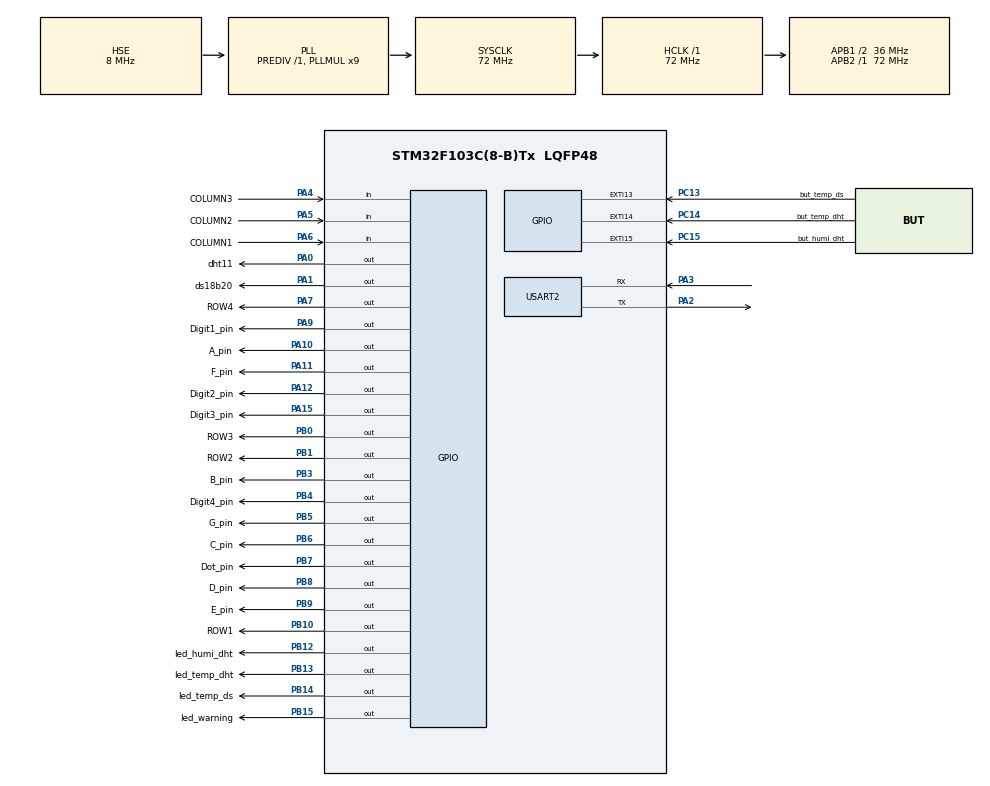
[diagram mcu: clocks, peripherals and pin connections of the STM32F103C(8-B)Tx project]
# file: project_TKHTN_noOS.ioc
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Mcu.Family=STM32F1
Mcu.Name=STM32F103C(8-B)Tx
Mcu.Package=LQFP48
NVIC.EXTI15_10_IRQn=true\:0\:0\:false\:false\:true\:true\:true\:true
NVIC.PriorityGroup=NVIC_PRIORITYGROUP_4
NVIC.TIM3_IRQn=true\:1\:0\:true\:false\:true\:true\:true\:true
NVIC.TIM4_IRQn=true\:0\:0\:false\:false\:true\:true\:true\:true
NVIC.USART2_IRQn=true\:0\:0\:false\:false\:true\:true\:true\:true
PA0-WKUP.GPIO_Label=dht11
PA0-WKUP.PinState=GPIO_PIN_SET
PA0-WKUP.Signal=GPIO_Output
PA1.GPIO_Label=ds18b20
PA1.PinState=GPIO_PIN_SET
PA1.Signal=GPIO_Output
PA10.GPIO_Label=A_pin
PA10.Signal=GPIO_Output
PA11.GPIO_Label=F_pin
PA11.Signal=GPIO_Output
PA12.GPIO_Label=Digit2_pin
PA12.Signal=GPIO_Output
PA13.Mode=Serial_Wire
PA13.Signal=SYS_JTMS-SWDIO
PA14.Mode=Serial_Wire
PA14.Signal=SYS_JTCK-SWCLK
PA15.GPIO_Label=Digit3_pin
PA15.Signal=GPIO_Output
PA2.Mode=Asynchronous
PA2.Signal=USART2_TX
PA3.Mode=Asynchronous
PA3.Signal=USART2_RX
PA4.GPIO_Label=COLUMN3
PA4.GPIO_PuPd=GPIO_PULLUP
PA4.Signal=GPIO_Input
PA5.GPIO_Label=COLUMN2
PA5.GPIO_PuPd=GPIO_PULLUP
PA5.Signal=GPIO_Input
PA6.GPIO_Label=COLUMN1
PA6.GPIO_PuPd=GPIO_PULLUP
PA6.Signal=GPIO_Input
PA7.GPIO_Label=ROW4
PA7.Signal=GPIO_Output
PA9.GPIO_Label=Digit1_pin
PA9.Signal=GPIO_Output
PB0.GPIO_Label=ROW3
PB0.Signal=GPIO_Output
PB1.GPIO_Label=ROW2
PB1.Signal=GPIO_Output
PB10.GPIO_Label=ROW1
PB10.Signal=GPIO_Output
PB12.GPIO_Label=led_humi_dht
PB12.Signal=GPIO_Output
PB13.GPIO_Label=led_temp_dht
PB13.Signal=GPIO_Output
PB14.GPIO_Label=led_temp_ds
PB14.Signal=GPIO_Output
PB15.GPIO_Label=led_warning
PB15.Signal=GPIO_Output
PB3.GPIO_Label=B_pin
PB3.Signal=GPIO_Output
PB4.GPIO_Label=Digit4_pin
PB4.Signal=GPIO_Output
PB5.GPIO_Label=G_pin
PB5.Signal=GPIO_Output
PB6.GPIO_Label=C_pin
PB6.Signal=GPIO_Output
PB7.GPIO_Label=Dot_pin
PB7.Signal=GPIO_Output
PB8.GPIO_Label=D_pin
PB8.Signal=GPIO_Output
PB9.GPIO_Label=E_pin
PB9.Signal=GPIO_Output
PC13-TAMPER-RTC.GPIO_Label=but_temp_ds
PC13-TAMPER-RTC.GPIO_PuPd=GPIO_PULLUP
PC13-TAMPER-RTC.Signal=GPXTI13
PC14-OSC32_IN.GPIO_Label=but_temp_dht
PC14-OSC32_IN.GPIO_PuPd=GPIO_PULLUP
PC14-OSC32_IN.Signal=GPXTI14
PC15-OSC32_OUT.GPIO_Label=but_humi_dht
PC15-OSC32_OUT.GPIO_PuPd=GPIO_PULLUP
PC15-OSC32_OUT.Signal=GPXTI15
PD0-OSC_IN.Mode=HSE-External-Oscillator
PD0-OSC_IN.Signal=RCC_OSC_IN
PD1-OSC_OUT.Mode=HSE-External-Oscillator
PD1-OSC_OUT.Signal=RCC_OSC_OUT
ProjectManager.HeapSize=0x200
ProjectManager.StackSize=0x400
ProjectManager.TargetToolchain=STM32CubeIDE
RCC.AHBFreq_Value=72000000
RCC.APB1CLKDivider=RCC_HCLK_DIV2
RCC.APB1Freq_Value=36000000
RCC.APB1TimFreq_Value=72000000
RCC.APB2Freq_Value=72000000
RCC.APB2TimFreq_Value=72000000
RCC.HCLKFreq_Value=72000000
RCC.PLLMUL=RCC_PLL_MUL9
RCC.PLLSourceVirtual=RCC_PLLSOURCE_HSE
RCC.SYSCLKFreq_VALUE=72000000
RCC.SYSCLKSource=RCC_SYSCLKSOURCE_PLLCLK
RCC.USBFreq_Value=72000000
TIM2.Prescaler=71
TIM3.AutoReloadPreload=TIM_AUTORELOAD_PRELOAD_DISABLE
TIM3.Period=9999
TIM3.Prescaler=7199
TIM4.Period=49999
TIM4.Prescaler=7199
USART2.VirtualMode=VM_ASYNC
VP_TIM2_VS_ClockSourceINT.Mode=Internal
VP_TIM3_VS_ClockSourceINT.Mode=Internal
VP_TIM4_VS_ClockSourceINT.Mode=Internal
board=custom

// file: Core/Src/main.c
/* USER CODE BEGIN Header */
/**
  ******************************************************************************
  * @file           : main.c
  * @brief          : Main program body
  ******************************************************************************
  * @attention
  *
  * Copyright (c) 2023 STMicroelectronics.
  * All rights reserved.
  *
  * This software is licensed under terms that can be found in the LICENSE file
  * in the root directory of this software component.
  * If no LICENSE file comes with this software, it is provided AS-IS.
  *
  ******************************************************************************
  */
/* USER CODE END Header */
#include "main.h"

/* USER CODE BEGIN Includes */
#include "led7seg.h"
#include "ds18b20.h"
#include "DHT.h"
#include "keypad.h"
#include <string.h>
#include <stdio.h>
#include <stdbool.h>
#include <stdlib.h>
/* USER CODE END Includes */

/* USER CODE BEGIN PTD */
typedef enum {ds_temp, dht_temp, dht_humi} status_t;
/* USER CODE END PTD */

TIM_HandleTypeDef htim2;
TIM_HandleTypeDef htim3;
TIM_HandleTypeDef htim4;

UART_HandleTypeDef huart2;

/* USER CODE BEGIN PV */
DS18B20_Name DS1;
DHT_DataTypedef DHT11_Data;
float temp_ds, temp_dht, humi_dht;
status_t getting = ds_temp;
int period = 10; //set up period
float warning_temp = 40; //set up warning_temp
float warning_humi = 70; //set up warning_humi
bool getting_period = 0;
bool getting_warning = 0;
bool getting_warning_humi = 0;
char set_up[4];// = {'\0', '\0', '\0'};
int index_key = 0;
char key;
int count_period = 0;
char uart_receive[3];
/* USER CODE END PV */

void SystemClock_Config(void);
static void MX_GPIO_Init(void);
static void MX_TIM2_Init(void);
static void MX_TIM3_Init(void);
static void MX_TIM4_Init(void);
static void MX_USART2_UART_Init(void);
/* USER CODE BEGIN PFP */
#ifdef __GNUC__
  /* With GCC, small printf (option LD Linker->Libraries->Small printf
     set to 'Yes') calls __io_putchar() */
int __io_putchar(int ch)
#else
int fputc(int ch, FILE *f)
#endif /* __GNUC__ */
{
  /* Place your implementation of fputc here */
  /* e.g. write a character to the UART3 and Loop until the end of transmission */
  HAL_UART_Transmit(&huart2, (uint8_t *)&ch, 1, HAL_MAX_DELAY);

  return ch;
}
/* USER CODE END PFP */

/* USER CODE BEGIN 0 */
void set_up_led(status_t getting)
{
	if(getting == ds_temp)
	{
		HAL_GPIO_WritePin(led_temp_ds_GPIO_Port, led_temp_ds_Pin, SET);
		HAL_GPIO_WritePin(led_temp_dht_GPIO_Port, led_temp_dht_Pin, RESET);
		HAL_GPIO_WritePin(led_humi_dht_GPIO_Port, led_humi_dht_Pin, RESET);
	}
	else if(getting == dht_temp)
	{
		HAL_GPIO_WritePin(led_temp_ds_GPIO_Port, led_temp_ds_Pin, RESET);
		HAL_GPIO_WritePin(led_temp_dht_GPIO_Port, led_temp_dht_Pin, SET);
		HAL_GPIO_WritePin(led_humi_dht_GPIO_Port, led_humi_dht_Pin, RESET);
	}
	else if(getting == dht_humi)
	{
		HAL_GPIO_WritePin(led_temp_ds_GPIO_Port, led_temp_ds_Pin, RESET);
		HAL_GPIO_WritePin(led_temp_dht_GPIO_Port, led_temp_dht_Pin, RESET);
		HAL_GPIO_WritePin(led_humi_dht_GPIO_Port, led_humi_dht_Pin, SET);
	}
	if((temp_ds > warning_temp) || (temp_dht > warning_temp) || (humi_dht > warning_humi))
	{
		HAL_GPIO_WritePin(led_warning_GPIO_Port, led_warning_Pin, SET);
	}
	else
	{
		HAL_GPIO_WritePin(led_warning_GPIO_Port, led_warning_Pin, RESET);
	}
}

void read_sensor_task(void)
{
//	printf("Tick:%ld\n", uwTick);
	printf("In read_sensor_task!\n");
	temp_ds = DS18B20_ReadTemp(&DS1);
	printf("Read DS12B20!\n");
	DHT_GetData(&DHT11_Data);
	temp_dht = DHT11_Data.Temperature;
	humi_dht = DHT11_Data.Humidity;
	set_up_led(getting);
	printf("Read DHT11!\n");
	printf("Value temp_ds: %.2f!\n", temp_ds);
	printf("Value temp_dht: %.2f!\n", temp_dht);
	printf("Value humi_dht: %.2f!\n", humi_dht);
//	printf("Value temp_ds:%d!\n", (int) temp_ds);  //hien thi so nguyen
//	printf("Value temp_dht:%d!\n", (int) temp_dht);
//	printf("Value humi_dht:%d!\n", (int) humi_dht);
}

void key_pad_task(void)
{
	key = getKey();
	if(key)
	{
	  printf("Key: %c\n", key);
	  if(key == '*')
	  {
		  printf("Change period....\n");
		  getting_period = 1;
		  TIM4->CNT &= 0x0;
		  HAL_TIM_Base_Start_IT(&htim4);
		  index_key = 0;
		  key = 0;
	  }

	  else if(key == '#')
	  {
		  printf("Change warning temperature....\n");
		  getting_warning = 1;
		  getting_period = 0;
		  TIM4->CNT &= 0x0;
		  HAL_TIM_Base_Start_IT(&htim4);
		  index_key = 0;
		  key = 0;
	  }
	  else if((key == '0') && (getting_period == 0) && (getting_warning == 0) && (getting_warning_humi == 0))
	  {
		  printf("Change warning humidity....\n");
		  getting_warning_humi = 1;
		  TIM4->CNT &= 0x0;
		  HAL_TIM_Base_Start_IT(&htim4);
		  index_key = 0;
		  key = 0;
	  }
	  else if(getting_period)
	  {
		  set_up[index_key] = key;
		  index_key ++;
		  if(index_key > 1)
		  {
			  period = atoi(set_up);
			  printf("Changed period: %d\n", period);
			  HAL_TIM_Base_Stop_IT(&htim4);
			  getting_period = 0;
			  index_key = 0;
		  }
	  }
	  else if(getting_warning)
	  {
		  set_up[index_key] = key;
		  index_key ++;
		  if(index_key > 1)
		  {
			  warning_temp = (float) atoi(set_up);
			  printf("Changed warning_temp: %d\n", (int) warning_temp);
			  HAL_TIM_Base_Stop_IT(&htim4);
			  getting_warning = 0;
			  index_key = 0;
		  }
	  }
	  else if(getting_warning_humi)
	  {
		  set_up[index_key] = key;
		  index_key ++;
		  if(index_key > 1)
		  {
			  warning_humi = (float) atoi(set_up);
			  printf("Changed warning_humi: %d\n", (int) warning_humi);
			  HAL_TIM_Base_Stop_IT(&htim4);
			  getting_warning_humi = 0;
			  index_key = 0;
		  }
	  }
	  set_up_led(getting);
	  key = 0;
	}
}

void display_led7seg_task(void)
{
	if(getting == ds_temp)
	{
	  display_float(temp_ds);
	}
	else if(getting == dht_temp)
	{
	  display_float(temp_dht);
	}
	else if(getting == dht_humi)
	{
	  display_float(humi_dht);
	}
}

void uart_received_task(void)
{
	printf("Receive: %s\n", uart_receive);
		if(uart_receive[0] == '*')
		{
			char get_uart[2];
			strncpy(get_uart, uart_receive+1, 2);
			printf("Get uart to change period: %s\n", get_uart);
			period = atoi(get_uart);
			printf("Changed period: %d\n", period);
		}
		else if(uart_receive[0] == '#')
		{
			char get_uart[2];
			strncpy(get_uart, uart_receive+1, 2);
			printf("Get uart to change level warning_temp: %s\n", get_uart);
			warning_temp = (float) atoi(get_uart);
			printf("Changed warning_temp: %d\n", (int) warning_temp);
		}
		else if(uart_receive[0] == '0')
		{
			char get_uart[2];
			strncpy(get_uart, uart_receive+1, 2);
			printf("Get uart to change level warning_humi: %s\n", get_uart);
			warning_humi = (float) atoi(get_uart);
			printf("Changed warning_humi: %d\n", (int) warning_humi);
		}
		else if(strcmp(uart_receive, "md1") == 0)
		{
			getting = ds_temp;
			printf("Changed mode to ds18b20 temperature!\n");
		}
		else if(strcmp(uart_receive, "md2") == 0)
		{
			getting = dht_temp;
			printf("Changed mode to dht11 temperature!\n");
		}
		else if(strcmp(uart_receive, "md3") == 0)
		{
			getting = dht_humi;
			printf("Changed mode to dht11 humidity!\n");
		}
		else
		{
			for(int i = 0; i < 3; i ++)
			{
				uart_receive[i] = '\0';
			}
		}
		set_up_led(getting);
		HAL_UART_Receive_IT(&huart2, (uint8_t *) uart_receive, 3);
}

void button_set_mode_task(uint16_t GPIO_Pin)
{
	if(GPIO_Pin == but_temp_ds_Pin)
	{
		if(getting != ds_temp)
		{
			getting = ds_temp;
			printf("Changed mode to ds18b20 temperature!\n");
		}
	}
	else if(GPIO_Pin == but_temp_dht_Pin)
	{
		if(getting != dht_temp)
		{
			getting = dht_temp;
			printf("Changed mode to dht11 temperature!\n");
		}
	}
	else if(GPIO_Pin == but_humi_dht_Pin)
	{
		if(getting != dht_humi)
		{
			getting = dht_humi;
			printf("Changed mode to dht11 humidity!\n");
		}
	}
}
/* USER CODE END 0 */

int main(void)
{

  /* MCU Configuration--------------------------------------------------------*/

  /* Reset of all peripherals, Initializes the Flash interface and the Systick. */
  HAL_Init();

  /* Configure the system clock */
  SystemClock_Config();

  /* Initialize all configured peripherals */
  MX_GPIO_Init();
  MX_TIM2_Init();
  MX_TIM3_Init();
  MX_TIM4_Init();
  MX_USART2_UART_Init();
  /* USER CODE BEGIN 2 */
	DS18B20_Init(&DS1, &htim2, ds18b20_GPIO_Port, ds18b20_Pin);
	HAL_Delay(2000);
	printf("Hello World!\n");
	HAL_UART_Receive_IT(&huart2, (uint8_t *) uart_receive, 3);
	TIM3->EGR = TIM_EGR_UG;     /* Force update for prescaler value. */
	TIM3->SR  = 0;              /* Clear update flag. */
	TIM4->EGR = TIM_EGR_UG;     /* Force update for prescaler value. */
	TIM4->SR  = 0;              /* Clear update flag. */
	HAL_TIM_Base_Start_IT(&htim3);
	read_sensor_task();
  /* USER CODE END 2 */

  /* Infinite loop */
  /* USER CODE BEGIN WHILE */
  while (1)
  {
	  if((uwTick%10) == 1)
	  {
		  key_pad_task();
		  display_led7seg_task();
	  }
    /* USER CODE END WHILE */

  }
}

void SystemClock_Config(void)
{
  RCC_OscInitTypeDef RCC_OscInitStruct = {0};
  RCC_ClkInitTypeDef RCC_ClkInitStruct = {0};

  /** Initializes the RCC Oscillators according to the specified parameters
  * in the RCC_OscInitTypeDef structure.
  */
  RCC_OscInitStruct.OscillatorType = RCC_OSCILLATORTYPE_HSE;
  RCC_OscInitStruct.HSEState = RCC_HSE_ON;
  RCC_OscInitStruct.HSEPredivValue = RCC_HSE_PREDIV_DIV1;
  RCC_OscInitStruct.HSIState = RCC_HSI_ON;
  RCC_OscInitStruct.PLL.PLLState = RCC_PLL_ON;
  RCC_OscInitStruct.PLL.PLLSource = RCC_PLLSOURCE_HSE;
  RCC_OscInitStruct.PLL.PLLMUL = RCC_PLL_MUL9;
  if (HAL_RCC_OscConfig(&RCC_OscInitStruct) != HAL_OK)
  {
    Error_Handler();
  }

  /** Initializes the CPU, AHB and APB buses clocks
  */
  RCC_ClkInitStruct.ClockType = RCC_CLOCKTYPE_HCLK|RCC_CLOCKTYPE_SYSCLK
                              |RCC_CLOCKTYPE_PCLK1|RCC_CLOCKTYPE_PCLK2;
  RCC_ClkInitStruct.SYSCLKSource = RCC_SYSCLKSOURCE_PLLCLK;
  RCC_ClkInitStruct.AHBCLKDivider = RCC_SYSCLK_DIV1;
  RCC_ClkInitStruct.APB1CLKDivider = RCC_HCLK_DIV2;
  RCC_ClkInitStruct.APB2CLKDivider = RCC_HCLK_DIV1;

  if (HAL_RCC_ClockConfig(&RCC_ClkInitStruct, FLASH_LATENCY_2) != HAL_OK)
  {
    Error_Handler();
  }
}

static void MX_TIM2_Init(void)
{

  TIM_ClockConfigTypeDef sClockSourceConfig = {0};
  TIM_MasterConfigTypeDef sMasterConfig = {0};

  htim2.Instance = TIM2;
  htim2.Init.Prescaler = 71;
  htim2.Init.CounterMode = TIM_COUNTERMODE_UP;
  htim2.Init.Period = 65535;
  htim2.Init.ClockDivision = TIM_CLOCKDIVISION_DIV1;
  htim2.Init.AutoReloadPreload = TIM_AUTORELOAD_PRELOAD_DISABLE;
  if (HAL_TIM_Base_Init(&htim2) != HAL_OK)
  {
    Error_Handler();
  }
  sClockSourceConfig.ClockSource = TIM_CLOCKSOURCE_INTERNAL;
  if (HAL_TIM_ConfigClockSource(&htim2, &sClockSourceConfig) != HAL_OK)
  {
    Error_Handler();
  }
  sMasterConfig.MasterOutputTrigger = TIM_TRGO_RESET;
  sMasterConfig.MasterSlaveMode = TIM_MASTERSLAVEMODE_DISABLE;
  if (HAL_TIMEx_MasterConfigSynchronization(&htim2, &sMasterConfig) != HAL_OK)
  {
    Error_Handler();
  }

}

static void MX_TIM3_Init(void)
{

  TIM_ClockConfigTypeDef sClockSourceConfig = {0};
  TIM_MasterConfigTypeDef sMasterConfig = {0};

  htim3.Instance = TIM3;
  htim3.Init.Prescaler = 7199;
  htim3.Init.CounterMode = TIM_COUNTERMODE_UP;
  htim3.Init.Period = 9999;
  htim3.Init.ClockDivision = TIM_CLOCKDIVISION_DIV1;
  htim3.Init.AutoReloadPreload = TIM_AUTORELOAD_PRELOAD_DISABLE;
  if (HAL_TIM_Base_Init(&htim3) != HAL_OK)
  {
    Error_Handler();
  }
  sClockSourceConfig.ClockSource = TIM_CLOCKSOURCE_INTERNAL;
  if (HAL_TIM_ConfigClockSource(&htim3, &sClockSourceConfig) != HAL_OK)
  {
    Error_Handler();
  }
  sMasterConfig.MasterOutputTrigger = TIM_TRGO_RESET;
  sMasterConfig.MasterSlaveMode = TIM_MASTERSLAVEMODE_DISABLE;
  if (HAL_TIMEx_MasterConfigSynchronization(&htim3, &sMasterConfig) != HAL_OK)
  {
    Error_Handler();
  }

}

static void MX_TIM4_Init(void)
{

  TIM_ClockConfigTypeDef sClockSourceConfig = {0};
  TIM_MasterConfigTypeDef sMasterConfig = {0};

  htim4.Instance = TIM4;
  htim4.Init.Prescaler = 7199;
  htim4.Init.CounterMode = TIM_COUNTERMODE_UP;
  htim4.Init.Period = 49999;
  htim4.Init.ClockDivision = TIM_CLOCKDIVISION_DIV1;
  htim4.Init.AutoReloadPreload = TIM_AUTORELOAD_PRELOAD_DISABLE;
  if (HAL_TIM_Base_Init(&htim4) != HAL_OK)
  {
    Error_Handler();
  }
  sClockSourceConfig.ClockSource = TIM_CLOCKSOURCE_INTERNAL;
  if (HAL_TIM_ConfigClockSource(&htim4, &sClockSourceConfig) != HAL_OK)
  {
    Error_Handler();
  }
  sMasterConfig.MasterOutputTrigger = TIM_TRGO_RESET;
  sMasterConfig.MasterSlaveMode = TIM_MASTERSLAVEMODE_DISABLE;
  if (HAL_TIMEx_MasterConfigSynchronization(&htim4, &sMasterConfig) != HAL_OK)
  {
    Error_Handler();
  }

}

static void MX_USART2_UART_Init(void)
{

  huart2.Instance = USART2;
  huart2.Init.BaudRate = 115200;
  huart2.Init.WordLength = UART_WORDLENGTH_8B;
  huart2.Init.StopBits = UART_STOPBITS_1;
  huart2.Init.Parity = UART_PARITY_NONE;
  huart2.Init.Mode = UART_MODE_TX_RX;
  huart2.Init.HwFlowCtl = UART_HWCONTROL_NONE;
  huart2.Init.OverSampling = UART_OVERSAMPLING_16;
  if (HAL_UART_Init(&huart2) != HAL_OK)
  {
    Error_Handler();
  }

}

static void MX_GPIO_Init(void)
{
  GPIO_InitTypeDef GPIO_InitStruct = {0};

  /* GPIO Ports Clock Enable */
  __HAL_RCC_GPIOC_CLK_ENABLE();
  __HAL_RCC_GPIOD_CLK_ENABLE();
  __HAL_RCC_GPIOA_CLK_ENABLE();
  __HAL_RCC_GPIOB_CLK_ENABLE();

  /*Configure GPIO pin Output Level */
  HAL_GPIO_WritePin(GPIOA, dht11_Pin|ds18b20_Pin, GPIO_PIN_SET);

  /*Configure GPIO pin Output Level */
  HAL_GPIO_WritePin(GPIOA, ROW4_Pin|Digit1_pin_Pin|A_pin_Pin|F_pin_Pin
                          |Digit2_pin_Pin|Digit3_pin_Pin, GPIO_PIN_RESET);

  /*Configure GPIO pin Output Level */
  HAL_GPIO_WritePin(GPIOB, ROW3_Pin|ROW2_Pin|ROW1_Pin|led_humi_dht_Pin
                          |led_temp_dht_Pin|led_temp_ds_Pin|led_warning_Pin|B_pin_Pin
                          |Digit4_pin_Pin|G_pin_Pin|C_pin_Pin|Dot_pin_Pin
                          |D_pin_Pin|E_pin_Pin, GPIO_PIN_RESET);

  /*Configure GPIO pins : but_temp_ds_Pin but_temp_dht_Pin but_humi_dht_Pin */
  GPIO_InitStruct.Pin = but_temp_ds_Pin|but_temp_dht_Pin|but_humi_dht_Pin;
  GPIO_InitStruct.Mode = GPIO_MODE_IT_RISING;
  GPIO_InitStruct.Pull = GPIO_PULLUP;
  HAL_GPIO_Init(GPIOC, &GPIO_InitStruct);

  /*Configure GPIO pins : dht11_Pin ds18b20_Pin ROW4_Pin Digit1_pin_Pin
                           A_pin_Pin F_pin_Pin Digit2_pin_Pin Digit3_pin_Pin */
  GPIO_InitStruct.Pin = dht11_Pin|ds18b20_Pin|ROW4_Pin|Digit1_pin_Pin
                          |A_pin_Pin|F_pin_Pin|Digit2_pin_Pin|Digit3_pin_Pin;
  GPIO_InitStruct.Mode = GPIO_MODE_OUTPUT_PP;
  GPIO_InitStruct.Pull = GPIO_NOPULL;
  GPIO_InitStruct.Speed = GPIO_SPEED_FREQ_LOW;
  HAL_GPIO_Init(GPIOA, &GPIO_InitStruct);

  /*Configure GPIO pins : COLUMN3_Pin COLUMN2_Pin COLUMN1_Pin */
  GPIO_InitStruct.Pin = COLUMN3_Pin|COLUMN2_Pin|COLUMN1_Pin;
  GPIO_InitStruct.Mode = GPIO_MODE_INPUT;
  GPIO_InitStruct.Pull = GPIO_PULLUP;
  HAL_GPIO_Init(GPIOA, &GPIO_InitStruct);

  /*Configure GPIO pins : ROW3_Pin ROW2_Pin ROW1_Pin led_humi_dht_Pin
                           led_temp_dht_Pin led_temp_ds_Pin led_warning_Pin B_pin_Pin
                           Digit4_pin_Pin G_pin_Pin C_pin_Pin Dot_pin_Pin
                           D_pin_Pin E_pin_Pin */
  GPIO_InitStruct.Pin = ROW3_Pin|ROW2_Pin|ROW1_Pin|led_humi_dht_Pin
                          |led_temp_dht_Pin|led_temp_ds_Pin|led_warning_Pin|B_pin_Pin
                          |Digit4_pin_Pin|G_pin_Pin|C_pin_Pin|Dot_pin_Pin
                          |D_pin_Pin|E_pin_Pin;
  GPIO_InitStruct.Mode = GPIO_MODE_OUTPUT_PP;
  GPIO_InitStruct.Pull = GPIO_NOPULL;
  GPIO_InitStruct.Speed = GPIO_SPEED_FREQ_LOW;
  HAL_GPIO_Init(GPIOB, &GPIO_InitStruct);

  /* EXTI interrupt init*/
  HAL_NVIC_SetPriority(EXTI15_10_IRQn, 0, 0);
  HAL_NVIC_EnableIRQ(EXTI15_10_IRQn);

}

/* USER CODE BEGIN 4 */
void HAL_TIM_PeriodElapsedCallback(TIM_HandleTypeDef *htim)
{
	/* Prevent unused argument(s) compilation warning */
		UNUSED(htim);
	/* NOTE : This function should not be modified, when the callback is needed,
			the HAL_TIM_PeriodElapsedCallback could be implemented in the user file
	*/
	if (htim->Instance == TIM3)
	{
		count_period++;
		if(count_period >= period)
		{
			count_period = 0;
			read_sensor_task();
		}
	}
	if (htim->Instance == TIM4)
	{
		printf("Out setting!\n");
		getting_period = 0;
		getting_warning = 0;
		getting_warning_humi = 0;
		HAL_TIM_Base_Stop_IT(&htim4);
	}
}

void HAL_GPIO_EXTI_Callback(uint16_t GPIO_Pin)
{
	/* Prevent unused argument(s) compilation warning */
		UNUSED(GPIO_Pin);
	/* NOTE: This function Should not be modified, when the callback is needed,
		   the HAL_GPIO_EXTI_Callback could be implemented in the user file
	*/
	button_set_mode_task(GPIO_Pin);
	set_up_led(getting);
}

void HAL_UART_RxCpltCallback(UART_HandleTypeDef *huart)
{
	/* Prevent unused argument(s) compilation warning */
		UNUSED(huart);
	/* NOTE: This function should not be modified, when the callback is needed,
		   the HAL_UART_RxCpltCallback could be implemented in the user file
	*/
	uart_received_task();
}
/* USER CODE END 4 */

void Error_Handler(void)
{
  __disable_irq();
  while (1)
  {
  }
}
